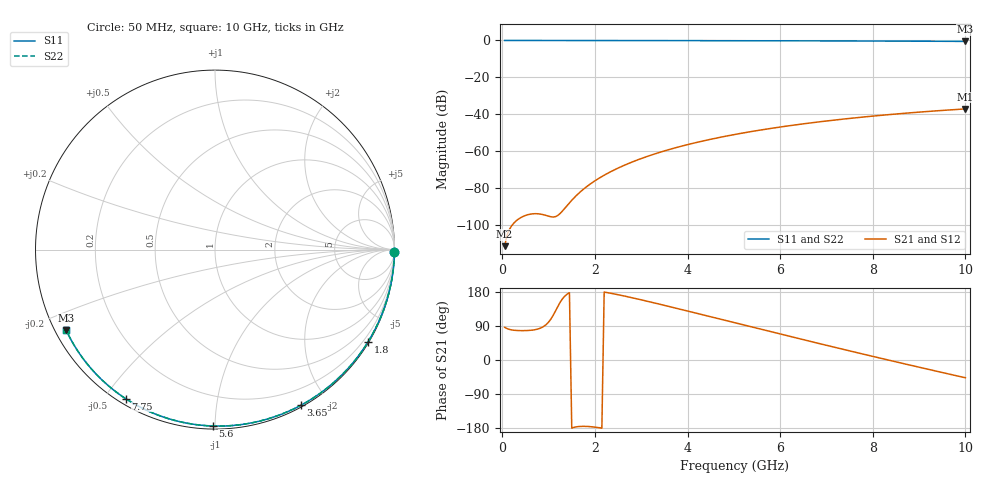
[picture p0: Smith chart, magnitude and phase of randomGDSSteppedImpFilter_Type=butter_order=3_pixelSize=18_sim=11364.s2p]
! freq	dB(S11)	phase(S11)	dB(S12)	phase(S12)
!  dB(S21)	phase(S21)	dB(S22)	phase(S22)
!S-par simulation data
#  GHz  S  DB  R 50
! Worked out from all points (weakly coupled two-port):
!   200 points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, 50 MHz to 10 GHz, reference 50 ohm
!   highest |S21| = -37.08 dB at 10 GHz (marker M1); lowest = -111.4 dB at 50 MHz (marker M2)
!   lowest |S11| = -0.5 dB at 10 GHz (marker M3), VSWR 34.07, Z = 1.56 - j12.6 ohm
!   |S11| at or under -10 dB: nowhere
!   |S22| runs from -0.5 to 0.0 dB; largest |S21 - S12| = 0
!   S11 on the Smith chart (normalised r, x): 50 MHz: open; 1.8 GHz: 0.03, -3.61; 3.65 GHz: 0.02, -1.69; 5.6 GHz: 0.02, -0.99; 7.75 GHz: 0.02, -0.57; 10 GHz: 0.03, -0.25
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0.05  -0.00 -0.9  -111.45 86.2  -111.45 86.2  -0.00 -0.9
0.45  -0.01 -7.9  -95.32 77.5  -95.32 77.5  -0.01 -7.9
0.9  -0.02 -15.6  -94.48 89.1  -94.48 89.1  -0.02 -15.6
1.3  -0.03 -22.5  -92.38 161.6  -92.38 161.6  -0.03 -22.5
1.75  -0.04 -30.1  -80.63 -175.0  -80.63 -175.0  -0.04 -30.1
1.8  -0.04 -31.0  -79.62 -175.1  -79.62 -175.1  -0.04 -31.0
1.95  -0.04 -33.5  -76.87 -176.4  -76.87 -176.4  -0.04 -33.5
2.1  -0.05 -36.0  -74.47 -178.8  -74.47 -178.8  -0.05 -36.0
2.3  -0.05 -39.3  -71.63 177.1  -71.63 177.1  -0.05 -39.3
2.5  -0.05 -42.6  -69.14 172.3  -69.14 172.3  -0.05 -42.6
2.9  -0.06 -49.2  -64.91 161.6  -64.91 161.6  -0.06 -49.2
3.4  -0.08 -57.2  -60.60 147.2  -60.60 147.2  -0.08 -57.2
3.65  -0.08 -61.2  -58.76 139.8  -58.76 139.8  -0.08 -61.2
4.3  -0.10 -71.3  -54.64 120.1  -54.64 120.1  -0.10 -71.3
5.05  -0.13 -82.6  -50.79 97.3  -50.79 97.3  -0.13 -82.6
5.6  -0.15 -90.7  -48.43 80.6  -48.43 80.6  -0.15 -90.7
6.15  -0.18 -98.6  -46.36 64.1  -46.36 64.1  -0.18 -98.6
6.7  -0.21 -106.4  -44.53 47.6  -44.53 47.6  -0.21 -106.4
7.75  -0.28 -120.9  -41.59 16.8  -41.59 16.8  -0.28 -120.9
8.35  -0.33 -129.1  -40.17 -0.6  -40.17 -0.6  -0.33 -129.1
9.2  -0.42 -140.7  -38.44 -24.7  -38.44 -24.7  -0.42 -140.7
10  -0.51 -151.7  -37.08 -46.8  -37.08 -46.8  -0.51 -151.7
